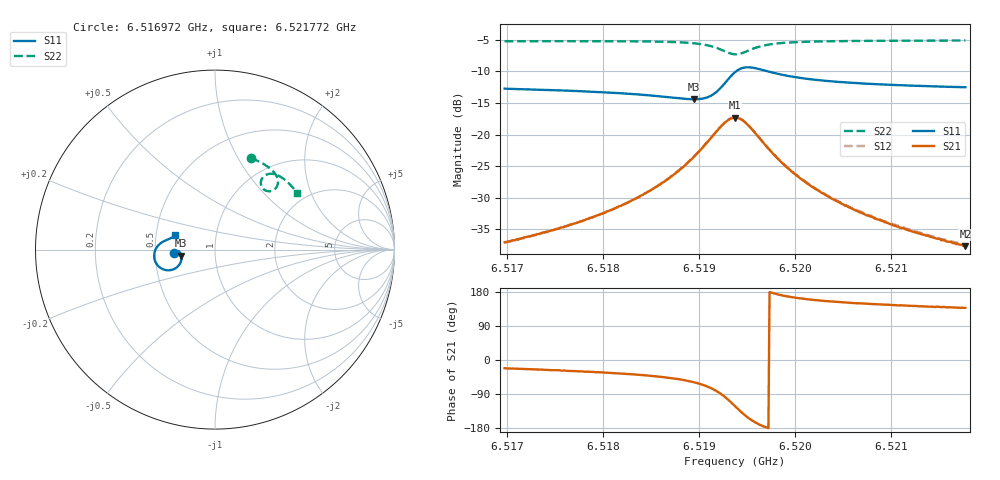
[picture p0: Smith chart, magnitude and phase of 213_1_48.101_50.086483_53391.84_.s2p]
#  HZ  S  RI  R  50.00
! Rohde & Schwarz Vector Network Analyzer
! Rohde-Schwarz,ZNB20-2Port,1311601062101988,3.16
! Created: UTC 12/23/2023, 3:55:59 AM
! freq[Hz]  re:S11  im:S11  re:S21  im:S21  re:S12  im:S12  re:S22  im:S22
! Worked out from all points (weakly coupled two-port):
!   401 points, 6.516972 GHz to 6.521772 GHz, reference 50 ohm
!   highest |S21| = -17.31 dB at 6.519372 GHz (marker M1); lowest = -37.6 dB at 6.521772 GHz (marker M2)
!   lowest |S11| = -14.4 dB at 6.51894 GHz (marker M3), VSWR 1.47, Z = 34.1 - j2.37 ohm
!   |S11| at or under -10 dB: start of sweep to 6.519382 GHz; 6.519717 GHz to end of sweep
!   |S22| runs from -7.3 to -5.1 dB; largest |S21 - S12| = 0.0043
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6.5169719e9  -0.2304 -0.0175  0.0131 -0.0052  0.0132 -0.00463  0.2014 0.51
6.5174399e9  -0.2251 -0.0108  0.0155 -0.00769  0.0158 -0.00707  0.2357 0.4954
6.5177759e9  -0.2205 -0.00695  0.0179 -0.0104  0.0182 -0.00974  0.2607 0.4827
6.518184e9  -0.2125 -0.00474  0.0221 -0.016  0.0228 -0.0152  0.2911 0.464
6.518352e9  -0.2083 -0.00537  0.0247 -0.0198  0.0254 -0.019  0.3041 0.4544
6.51858e9  -0.201 -0.00923  0.0289 -0.0276  0.0298 -0.0268  0.3218 0.4387
6.518772e9  -0.1937 -0.0176  0.0326 -0.0391  0.034 -0.0381  0.3365 0.4207
6.51894e9  -0.1875 -0.0335  0.0347 -0.0565  0.0368 -0.0557  0.3478 0.3981
6.51906e9  -0.187 -0.0543  0.0316 -0.0768  0.0343 -0.0763  0.351 0.3752
6.519144e9  -0.1939 -0.0757  0.0222 -0.0962  0.0253 -0.0961  0.3464 0.355
6.519276e9  -0.2357 -0.1115  -0.0205 -0.1245  -0.017 -0.1262  0.3143 0.3265
6.519372e9  -0.2928 -0.1082  -0.0716 -0.1159  -0.0688 -0.1189  0.2748 0.3333
6.5194201e9  -0.3177 -0.0901  -0.0918 -0.0973  -0.0898 -0.1007  0.2609 0.349
6.5194801e9  -0.3355 -0.0589  -0.1042 -0.0683  -0.103 -0.0718  0.2553 0.373
6.5195881e9  -0.3348 -0.00889  -0.0983 -0.0257  -0.0984 -0.0287  0.2696 0.4057
6.5196961e9  -0.3188 0.0204  -0.0811 -0.00317  -0.0817 -0.00555  0.2924 0.4196
6.5199121e9  -0.2894 0.0445  -0.054 0.0114  -0.0549 0.00991  0.3295 0.4204
6.5201761e9  -0.2679 0.0545  -0.0361 0.0138  -0.0369 0.0129  0.3602 0.4085
6.5205721e9  -0.25 0.0619  -0.0231 0.0128  -0.0237 0.0123  0.3923 0.3862
6.5209801e9  -0.2386 0.0678  -0.0162 0.0111  -0.0169 0.0109  0.4184 0.362
6.5213882e9  -0.2302 0.0736  -0.0122 0.00999  -0.0127 0.00972  0.4407 0.3372
6.5217722e9  -0.2237 0.0789  -0.00967 0.00887  -0.0102 0.00882  0.4594 0.3132
